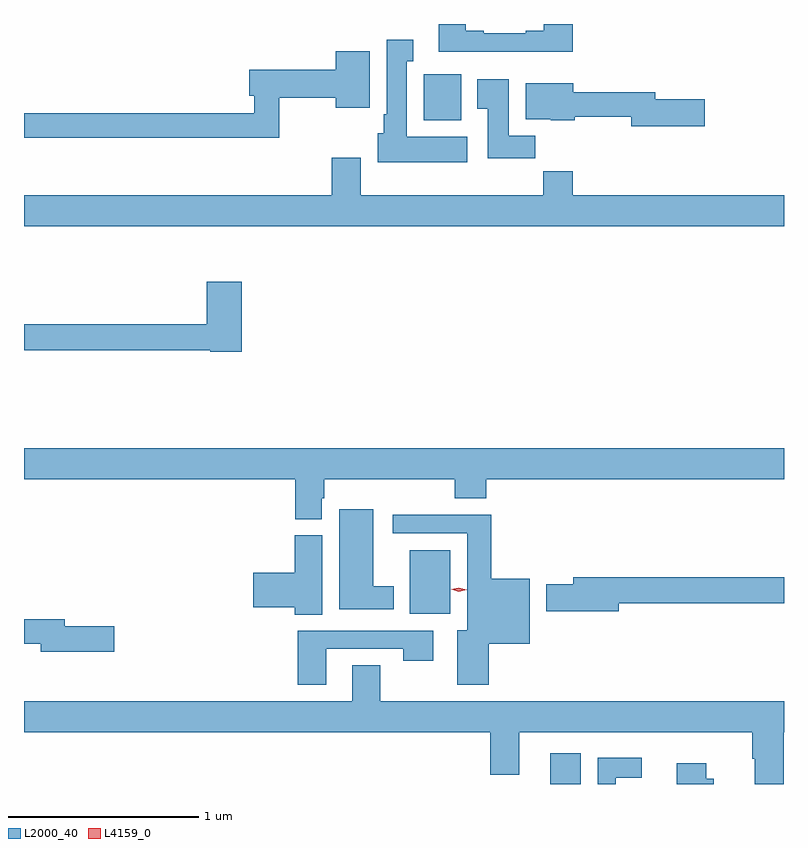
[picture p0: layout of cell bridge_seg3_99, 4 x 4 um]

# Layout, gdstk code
import gdstk
lib = gdstk.Library(unit=1e-6, precision=1e-09)
def R(c, l, rs):  # rectangles x0, y0, x1, y1
    for r in rs: c.add(gdstk.rectangle(r[:2], r[2:], *l))
def P(c, l, *ps):  # polygons
    for p in ps: c.add(gdstk.Polygon(p, *l))
L2000_40 = (2000, 40)
L4159_0 = (4159, 0)

bridge_seg3_99 = lib.new_cell('bridge_seg3_99')
R(bridge_seg3_99, L2000_40, [(626.9,744.6,627.061,744.763), (626.162,745.496,626.374,745.831), (626.234,748.094,626.431,748.336)])
P(bridge_seg3_99, L2000_40, [(627.02,748.6),(626.867,748.6),(626.867,748.564),(626.771,748.564),(626.771,748.551),(626.551,748.551),(626.551,748.564),(626.455,748.564),(626.455,748.6),(626.315,748.6),(626.315,748.454),(627.02,748.454)],
  [(626.464,748.006),(626.146,748.006),(626.146,748.403),(626.179,748.403),(626.179,748.516),(626.039,748.516),(626.039,748.126),(626.024,748.126),(626.024,748.026),(625.994,748.026),(625.994,747.872),(626.464,747.872)],
  [(625.475,748.211),(625.772,748.211),(625.772,748.16),(625.951,748.16),(625.951,748.456),(625.772,748.456),(625.772,748.358),(625.316,748.358),(625.316,748.223),(625.343,748.223),(625.343,748.13),(624.131,748.13),(624.131,748.002),(625.475,748.002)],
  [(626.822,748.012),(626.683,748.012),(626.683,748.309),(626.516,748.309),(626.516,748.153),(626.573,748.153),(626.573,747.894),(626.822,747.894)],
  [(627.715,748.205),(627.454,748.205),(627.454,748.241),(627.022,748.241),(627.022,748.288),(626.771,748.288),(626.771,748.1),(626.904,748.1),(626.904,748.094),(627.03,748.094),(627.03,748.113),(627.326,748.113),(627.326,748.063),(627.715,748.063)],
  [(628.131,747.7),(627.02,747.7),(627.02,747.824),(626.863,747.824),(626.863,747.7),(625.903,747.7),(625.903,747.895),(625.751,747.895),(625.751,747.7),(624.131,747.7),(624.131,747.536),(628.131,747.536)],
  [(625.277,747.244),(625.094,747.244),(625.094,747.02),(624.131,747.02),(624.131,746.884),(625.11,746.884),(625.11,746.876),(625.277,746.876)],
  [(625.699,746.103),(625.712,746.103),(625.712,746.204),(626.399,746.204),(626.399,746.105),(626.564,746.105),(626.564,746.204),(628.131,746.204),(628.131,746.368),(624.131,746.368),(624.131,746.204),(625.559,746.204),(625.559,745.993),(625.699,745.993)],
  [(626.077,745.642),(625.969,745.642),(625.969,746.047),(625.79,746.047),(625.79,745.52),(626.077,745.52)],
  [(626.578,745.337),(626.794,745.337),(626.794,745.681),(626.591,745.681),(626.591,746.018),(626.073,746.018),(626.073,745.92),(626.465,745.92),(626.465,745.408),(626.411,745.408),(626.411,745.122),(626.578,745.122)],
  [(625.702,745.908),(625.556,745.908),(625.556,745.712),(625.338,745.712),(625.338,745.529),(625.556,745.529),(625.556,745.492),(625.702,745.492)],
  [(627.262,745.552),(628.131,745.552),(628.131,745.688),(627.023,745.688),(627.023,745.652),(626.879,745.652),(626.879,745.51),(627.262,745.51)],
  [(624.607,745.43),(624.346,745.43),(624.346,745.466),(624.131,745.466),(624.131,745.338),(624.218,745.338),(624.218,745.295),(624.607,745.295)],
  [(625.723,745.311),(626.128,745.311),(626.128,745.248),(626.284,745.248),(626.284,745.407),(625.571,745.407),(625.571,745.122),(625.723,745.122)],
  [(628.13,744.872),(628.131,744.872),(628.131,745.036),(626.007,745.036),(626.007,745.226),(625.859,745.226),(625.859,745.036),(624.131,745.036),(624.131,744.872),(626.585,744.872),(626.585,744.648),(626.737,744.648),(626.737,744.872),(627.965,744.872),(627.965,744.734),(627.977,744.734),(627.977,744.6),(628.13,744.6)],
  [(627.246,744.632),(627.382,744.632),(627.382,744.739),(627.15,744.739),(627.15,744.6),(627.246,744.6)],
  [(627.76,744.628),(627.721,744.628),(627.721,744.709),(627.566,744.709),(627.566,744.6),(627.76,744.6)])
P(bridge_seg3_99, L4159_0, [(626.419,745.613),(626.379,745.624),(626.379,745.624),(626.379,745.624),(626.42,745.633),(626.46,745.623),(626.46,745.622),(626.46,745.622)])

lib.write_gds('bridge_seg3_99.gds')
